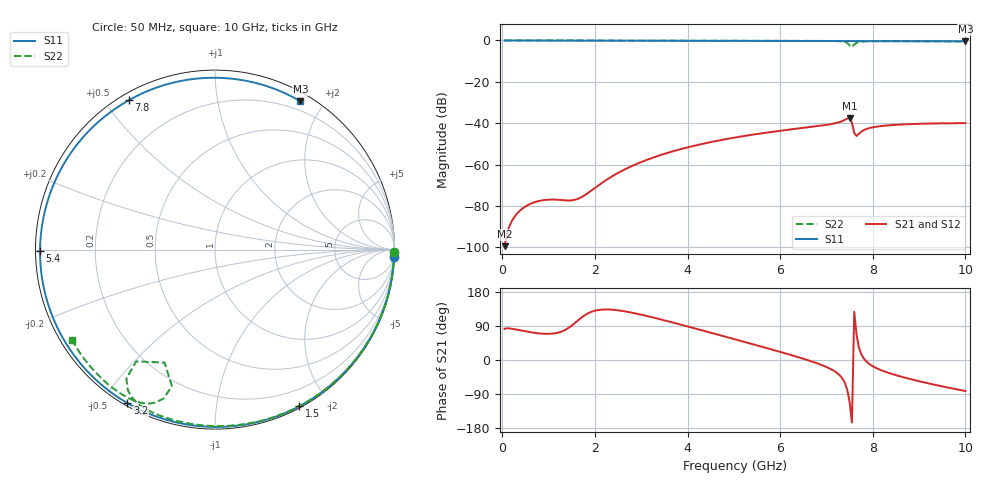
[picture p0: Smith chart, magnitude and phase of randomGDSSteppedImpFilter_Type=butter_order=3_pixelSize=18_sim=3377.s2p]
! freq	dB(S11)	phase(S11)	dB(S12)	phase(S12)
!  dB(S21)	phase(S21)	dB(S22)	phase(S22)
!S-par simulation data
#  GHz  S  DB  R 50
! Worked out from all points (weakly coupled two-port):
!   200 points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, 50 MHz to 10 GHz, reference 50 ohm
!   highest |S21| = -37.47 dB at 7.5 GHz (marker M1); lowest = -99.4 dB at 50 MHz (marker M2)
!   lowest |S11| = -0.4 dB at 10 GHz (marker M3), VSWR 42.30, Z = 4.71 + j86.2 ohm
!   |S11| at or under -10 dB: nowhere
!   |S22| runs from -3.2 to 0.0 dB; largest |S21 - S12| = 0
!   S11 on the Smith chart (normalised r, x): 50 MHz: 3, -52; 1.5 GHz: 0.02, -1.67; 3.2 GHz: 0.01, -0.58; 5.4 GHz: 0.01, -0.00; 7.8 GHz: 0.03, +0.58; 10 GHz: 0.09, +1.72
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0.05  -0.02 -2.2  -99.36 82.2  -99.36 82.2  -0.01 -0.9
0.5  -0.03 -21.3  -80.20 75.6  -80.20 75.6  -0.01 -8.6
0.7  -0.04 -29.7  -78.11 71.6  -78.11 71.6  -0.02 -12.0
1.5  -0.07 -61.8  -77.22 90.9  -77.22 90.9  -0.03 -25.6
1.75  -0.09 -71.2  -75.17 115.6  -75.17 115.6  -0.04 -29.8
2.45  -0.11 -95.8  -64.60 131.8  -64.60 131.8  -0.05 -41.3
3.2  -0.13 -119.7  -57.02 113.8  -57.02 113.8  -0.07 -53.4
3.4  -0.14 -125.7  -55.49 107.8  -55.49 107.8  -0.07 -56.6
4.2  -0.17 -148.2  -50.57 82.0  -50.57 82.0  -0.10 -69.0
5.05  -0.21 -170.6  -46.79 53.8  -46.79 53.8  -0.13 -81.8
5.4  -0.22 -179.5  -45.52 42.0  -45.52 42.0  -0.14 -86.9
6.7  -0.29 147.9  -41.69 -4.5  -41.69 -4.5  -0.21 -106.1
7.3  -0.32 132.7  -39.30 -42.3  -39.30 -42.3  -0.40 -117.8
7.45  -0.33 128.9  -37.69 -79.0  -37.69 -79.0  -1.20 -124.5
7.5  -0.33 127.6  -37.47 -111.0  -37.47 -111.0  -2.37 -125.1
7.55  -0.34 126.3  -39.77 -165.1  -39.77 -165.1  -3.23 -114.0
7.6  -0.34 125.1  -44.72 127.3  -44.72 127.3  -1.96 -107.5
7.65  -0.34 123.8  -46.13 66.3  -46.13 66.3  -1.12 -109.1
7.8  -0.35 119.9  -43.37 4.9  -43.37 4.9  -0.51 -114.8
8.35  -0.36 105.4  -40.99 -34.4  -40.99 -34.4  -0.37 -125.1
9.2  -0.39 82.4  -40.15 -61.7  -40.15 -61.7  -0.43 -137.0
10  -0.41 60.1  -39.94 -81.8  -39.94 -81.8  -0.52 -147.8
